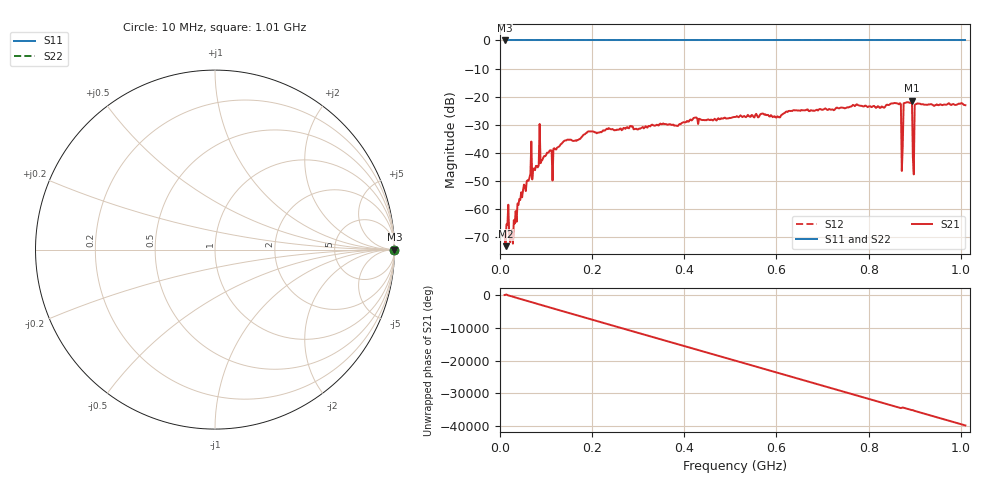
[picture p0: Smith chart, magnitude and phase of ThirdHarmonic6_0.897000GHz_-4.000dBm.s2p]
! 8/16/2025 5:26:13 AM
! C:\ANRITSUVNA\TEMP\TEMP.S2P
! CHANNEL.1
! TR.MEASUREMENT
! RAW.DATA
! RF.CORRECTION.OFF
! AVERAGING.OFF
! IF.BANDWIDTH: 5KHZ
! SWEEPTYPE:  FREQ.SWEEP(Linear)
! Reference Plane Port Info
! PORT:  PORT1  PORT2
! DISTANCE:  0  m  0  m
! TIME:  0  s  0  s
! PHASE.OFFSET:  0  deg.  0  deg.
! LOSS:  0  dB  0  dB
! REF.LOSS:  0  dB  0  dB
! REF.FREQ:  0  Hz  0  Hz
! Power Info
! POWER:  -20  dBm  -20  dBm
! EFF.POWER:  -20  dBm  -20  dBm
! SOURCE.ATTEN:  0  dB  0  dB
! TEST.ATTEN:  0  dB  0  dB
# GHZ S RI R 50.0
! FREQ.GHZ  S11RE  S11IM  S21RE  S21IM  S12RE  S12IM  S22RE  S22IM
!; PortSelection: Port_12
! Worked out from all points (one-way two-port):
!   501 points, 10 MHz to 1.01 GHz, reference 50 ohm
!   highest |S21| = -21.44 dB at 894 MHz (marker M1); lowest = -73.2 dB at 12 MHz (marker M2)
!   lowest |S11| = 0.0 dB at 10 MHz (marker M3)
!   |S11| at or under -10 dB: nowhere
!   |S22| runs from 0.0 to 0.0 dB; largest |S21 - S12| = 1.1
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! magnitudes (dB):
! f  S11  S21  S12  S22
! 10 MHz  0.0  -69.1  0.0  0.0
! 12 MHz  0.0  -73.2  0.0  0.0
! 18 MHz  0.0  -58.5  0.0  0.0
! 24 MHz  0.0  -68.8  0.0  0.0
! 64 MHz  0.0  -48.8  0.0  0.0
! 80 MHz  0.0  -44.7  0.0  0.0
! 90 MHz  0.0  -42.9  0.0  0.0
! 110 MHz  0.0  -39.1  0.0  0.0
! 178 MHz  0.0  -34.3  0.0  0.0
! 344 MHz  0.0  -30.3  0.0  0.0
! 510 MHz  0.0  -27.2  0.0  0.0
! 678 MHz  0.0  -25.0  0.0  0.0
! 844 MHz  0.0  -23.0  0.0  0.0
! 866 MHz  0.0  -22.7  0.0  0.0
! 870 MHz  0.0  -22.7  0.0  0.0
! 876 MHz  0.0  -22.4  0.0  0.0
! 880 MHz  0.0  -22.2  0.0  0.0
! 890 MHz  0.0  -22.3  0.0  0.0
! 894 MHz  0.0  -21.4  0.0  0.0
! 900 MHz  0.0  -23.0  0.0  0.0
! 904 MHz  0.0  -22.6  0.0  0.0
! 1.01 GHz  0.0  -23.0  0.0  0.0
